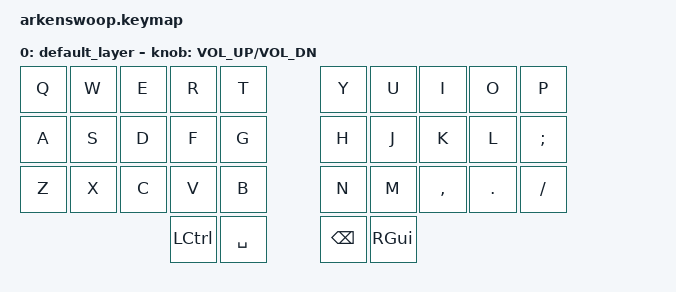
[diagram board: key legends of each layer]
#include <behaviors.dtsi>
#include <dt-bindings/zmk/keys.h>
#include <dt-bindings/zmk/bt.h>

/ {
    keymap {
        compatible = "zmk,keymap";

        default_layer {
            // Definicja 34 klawiszy (zależnie od Twojej matrycy)
            bindings = <
                &kp Q &kp W &kp E &kp R &kp T       &kp Y &kp U &kp I &kp O &kp P
                &kp A &kp S &kp D &kp F &kp G       &kp H &kp J &kp K &kp L &kp SEMI
                &kp Z &kp X &kp C &kp V &kp B       &kp N &kp M &kp COMMA &kp DOT &kp FSLH
                            &kp LCTRL &kp SPC       &kp BSPC &kp RGUI
            >;

            // Zachowanie enkodera bocznego (np. Scrollowanie myszką lub Volume)
            sensor-bindings = <&inc_dec_kp C_VOL_UP C_VOL_DN>;
        };
    };
};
